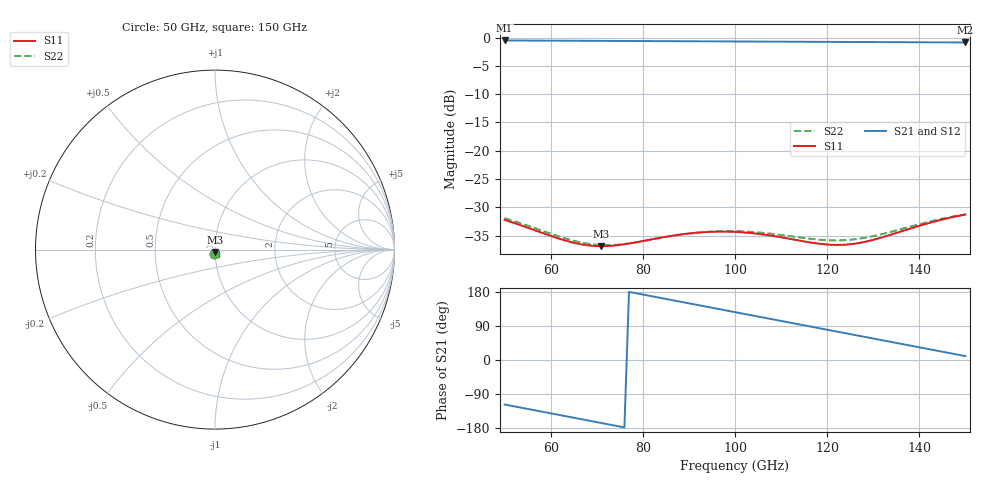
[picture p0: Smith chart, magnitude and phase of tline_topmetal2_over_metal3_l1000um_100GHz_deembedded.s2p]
! Created with skrf 2.2.0 (http://scikit-rf.org).
# GHz S DB R 50.0
! Port[1] = P1
! Port[2] = P2
!freq dBS11 angS11 dBS21 angS21 dBS12 angS12 dBS22 angS22
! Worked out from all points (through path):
!   101 points, 50 GHz to 150 GHz, reference 50 ohm
!   highest |S21| = -0.51 dB at 50 GHz (marker M1); lowest = -0.9 dB at 150 GHz (marker M2)
!   group delay of S21, straight-line fit = 6.45 ps
!   lowest |S11| = -36.9 dB at 71 GHz (marker M3), VSWR 1.03, Z = 50 - j1.43 ohm
!   |S11| at or under -10 dB: start of sweep to end of sweep
!   |S22| runs from -36.7 to -31.2 dB; largest |S21 - S12| = 1.6e-13
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50  -32.23 -96.9  -0.51 -117.4  -0.51 -117.4  -31.93 -97.6
54  -33.33 -100.7  -0.52 -126.8  -0.52 -126.8  -32.98 -101.8
59  -34.78 -102.4  -0.54 -138.4  -0.54 -138.4  -34.39 -104.1
63  -35.85 -100.7  -0.56 -147.7  -0.56 -147.7  -35.46 -103.1
67  -36.61 -96.4  -0.57 -157.0  -0.57 -157.0  -36.30 -99.4
71  -36.88 -90.8  -0.58 -166.3  -0.58 -166.3  -36.69 -94.2
77  -36.42 -84.2  -0.61 179.8  -0.61 179.8  -36.40 -87.1
84  -35.36 -82.6  -0.63 163.5  -0.63 163.5  -35.41 -84.4
88  -34.84 -84.2  -0.64 154.2  -0.64 154.2  -34.87 -85.4
92  -34.48 -86.9  -0.66 144.9  -0.66 144.9  -34.48 -87.5
100  -34.36 -93.4  -0.69 126.3  -0.69 126.3  -34.23 -93.2
105  -34.70 -96.7  -0.71 114.7  -0.71 114.7  -34.45 -96.1
109  -35.17 -98.1  -0.72 105.4  -0.72 105.4  -34.79 -97.4
113  -35.75 -97.7  -0.74 96.1  -0.74 96.1  -35.23 -97.2
117  -36.31 -94.9  -0.75 86.8  -0.75 86.8  -35.63 -95.1
121  -36.64 -89.8  -0.77 77.6  -0.77 77.6  -35.86 -91.2
125  -36.54 -83.4  -0.78 68.3  -0.78 68.3  -35.75 -86.3
129  -35.97 -77.5  -0.79 59.0  -0.79 59.0  -35.27 -81.8
134  -34.81 -73.1  -0.81 47.4  -0.81 47.4  -34.31 -78.2
142  -32.81 -73.4  -0.84 28.9  -0.84 28.9  -32.59 -78.6
146  -31.98 -76.1  -0.85 19.6  -0.85 19.6  -31.85 -81.0
150  -31.30 -79.7  -0.86 10.3  -0.86 10.3  -31.25 -84.5
